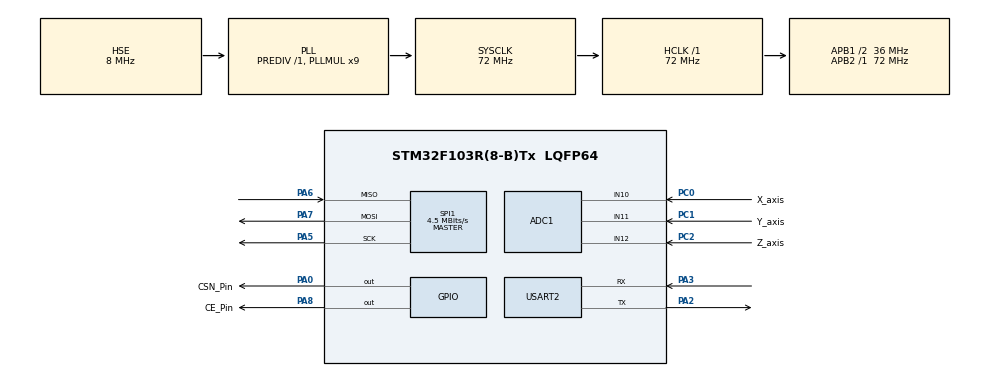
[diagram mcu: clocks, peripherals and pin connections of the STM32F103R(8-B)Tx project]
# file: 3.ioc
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ADC1.Channel-0\#ChannelRegularConversion=ADC_CHANNEL_10
ADC1.Channel-5\#ChannelRegularConversion=ADC_CHANNEL_11
ADC1.Channel-6\#ChannelRegularConversion=ADC_CHANNEL_12
ADC1.ContinuousConvMode=ENABLE
ADC1.DiscontinuousConvMode=DISABLE
ADC1.NbrOfConversion=3
ADC1.NbrOfConversionFlag=1
ADC1.Rank-0\#ChannelRegularConversion=1
ADC1.Rank-5\#ChannelRegularConversion=2
ADC1.Rank-6\#ChannelRegularConversion=3
ADC1.SamplingTime-0\#ChannelRegularConversion=ADC_SAMPLETIME_239CYCLES_5
ADC1.SamplingTime-5\#ChannelRegularConversion=ADC_SAMPLETIME_239CYCLES_5
ADC1.SamplingTime-6\#ChannelRegularConversion=ADC_SAMPLETIME_239CYCLES_5
ADC1.master=1
Dma.ADC1.0.Direction=DMA_PERIPH_TO_MEMORY
Dma.ADC1.0.Instance=DMA1_Channel1
Dma.ADC1.0.MemDataAlignment=DMA_MDATAALIGN_HALFWORD
Dma.ADC1.0.MemInc=DMA_MINC_ENABLE
Dma.ADC1.0.Mode=DMA_CIRCULAR
Dma.ADC1.0.PeriphDataAlignment=DMA_PDATAALIGN_HALFWORD
Dma.ADC1.0.PeriphInc=DMA_PINC_DISABLE
Dma.ADC1.0.Priority=DMA_PRIORITY_LOW
Dma.Request0=ADC1
Mcu.Family=STM32F1
Mcu.Name=STM32F103R(8-B)Tx
Mcu.Package=LQFP64
NVIC.ADC1_2_IRQn=true\:0\:0\:false\:false\:true\:true\:true\:true
NVIC.DMA1_Channel1_IRQn=true\:0\:0\:false\:false\:true\:false\:true\:true
NVIC.PriorityGroup=NVIC_PRIORITYGROUP_4
PA0-WKUP.GPIO_Label=CSN_Pin
PA0-WKUP.Signal=GPIO_Output
PA2.Mode=Asynchronous
PA2.Signal=USART2_TX
PA3.Mode=Asynchronous
PA3.Signal=USART2_RX
PA5.Mode=Full_Duplex_Master
PA5.Signal=SPI1_SCK
PA6.Mode=Full_Duplex_Master
PA6.Signal=SPI1_MISO
PA7.Mode=Full_Duplex_Master
PA7.Signal=SPI1_MOSI
PA8.GPIO_Label=CE_Pin
PA8.Signal=GPIO_Output
PC0.GPIO_Label=X_axis
PC0.Signal=ADCx_IN10
PC1.GPIO_Label=Y_axis
PC1.Signal=ADCx_IN11
PC14-OSC32_IN.Mode=LSE-External-Oscillator
PC14-OSC32_IN.Signal=RCC_OSC32_IN
PC15-OSC32_OUT.Mode=LSE-External-Oscillator
PC15-OSC32_OUT.Signal=RCC_OSC32_OUT
PC2.GPIO_Label=Z_axis
PC2.Signal=ADCx_IN12
PD0-OSC_IN.Mode=HSE-External-Clock-Source
PD0-OSC_IN.Signal=RCC_OSC_IN
PD1-OSC_OUT.Mode=HSE-External-Clock-Source
PD1-OSC_OUT.Signal=RCC_OSC_OUT
ProjectManager.HeapSize=0x200
ProjectManager.StackSize=0x400
ProjectManager.TargetToolchain=STM32CubeIDE
RCC.ADCPresc=RCC_ADCPCLK2_DIV6
RCC.AHBFreq_Value=72000000
RCC.APB1CLKDivider=RCC_HCLK_DIV2
RCC.APB1Freq_Value=36000000
RCC.APB1TimFreq_Value=72000000
RCC.APB2Freq_Value=72000000
RCC.APB2TimFreq_Value=72000000
RCC.HCLKFreq_Value=72000000
RCC.PLLMUL=RCC_PLL_MUL9
RCC.PLLSourceVirtual=RCC_PLLSOURCE_HSE
RCC.RTCClockSelection=RCC_RTCCLKSOURCE_LSE
RCC.SYSCLKFreq_VALUE=72000000
RCC.SYSCLKSource=RCC_SYSCLKSOURCE_PLLCLK
RCC.USBFreq_Value=72000000
SH.ADCx_IN10.0=ADC1_IN10,IN10
SH.ADCx_IN11.0=ADC1_IN11,IN11
SH.ADCx_IN12.0=ADC1_IN12,IN12
SPI1.BaudRatePrescaler=SPI_BAUDRATEPRESCALER_16
SPI1.CalculateBaudRate=4.5 MBits/s
SPI1.Direction=SPI_DIRECTION_2LINES
SPI1.Mode=SPI_MODE_MASTER
SPI1.VirtualType=VM_MASTER
USART2.VirtualMode=VM_ASYNC
VP_SYS_VS_ND.Mode=No_Debug
board=NUCLEO-F103RB

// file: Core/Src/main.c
/* USER CODE BEGIN Header */
/**
  ******************************************************************************
  * @file           : main.c
  * @brief          : Main program body
  ******************************************************************************
  * @attention
  *
  * Copyright (c) 2025 STMicroelectronics.
  * All rights reserved.
  *
  * This software is licensed under terms that can be found in the LICENSE file
  * in the root directory of this software component.
  * If no LICENSE file comes with this software, it is provided AS-IS.
  *
  ******************************************************************************
  */
/* USER CODE END Header */
#include "main.h"
#include "adc.h"
#include "spi.h"
#include "usart.h"
#include "gpio.h"

/* USER CODE BEGIN Includes */
#include "NRF24.h"
#include "NRF24_conf.h"
#include "stdio.h"
#include "string.h"
#include "NRF24_reg_addresses.h"

/* USER CODE END Includes */

void SystemClock_Config(void);

/* USER CODE BEGIN 0 */
uint8_t tx_address[5] = {0xE7, 0xE7, 0xE7, 0xE7, 0xE7};

extern ADC_HandleTypeDef hadc1;
extern SPI_HandleTypeDef hspi1;
extern UART_HandleTypeDef huart2;

void nrf24_transmitter_setup(void)
{
    nrf24_defaults();                //레지스터 기본값으로 초기화
    nrf24_pwr_up();
    nrf24_flush_tx();
    nrf24_flush_rx();
    nrf24_clear_rx_dr();
    nrf24_clear_tx_ds();
    nrf24_clear_max_rt();
    nrf24_stop_listen();             //수신모드 비활성화 하여 송신 전용 모드로 전환

    nrf24_set_channel(40);           //무선 채널 40번으로 설정
    nrf24_auto_ack_all(disable);     //자동 ack기능 off=>단순 송신만 수행
    nrf24_set_payload_size(6);      //한번에 전송할 페이로드 크기 최대 32바이트
    nrf24_tx_pwr(3);
    nrf24_data_rate(_1mbps);
    nrf24_open_tx_pipe(tx_address);  //파이프 0에 tx_address를 열어 송신 대상 지정
    nrf24_pwr_up();                  //모듈 power up=>송신 준비 완료

   // nrf24_dpl(enable);               //dpl활성화
     // nrf24_set_rx_dpl(0, enable);
}

void debug_dump_settings(void) {     //주소 확인 용
    uint8_t ch     = nrf24_r_reg(RF_CH, 1);
    uint8_t pw     = nrf24_r_reg(RX_PW_P0, 1);
    uint8_t addr[5];

    csn_low();
    uint8_t cmd = R_REGISTER | RX_ADDR_P0;
    HAL_SPI_Transmit(&hspi1, &cmd, 1, 100);
    HAL_SPI_Receive(&hspi1, addr, 5, 100);
    csn_high();

    printf("=== DEBUG SETTINGS ===\r\n");
    printf(" RF_CH       = %u\r\n", ch);
    printf(" RX_PW_P0    = %u bytes\r\n", pw);
    printf(" RX_ADDR_P0  = %02X %02X %02X %02X %02X\r\n",
           addr[0], addr[1], addr[2], addr[3], addr[4]);
    printf("======================\r\n");
}

int __io_putchar(int ch)
{
    HAL_UART_Transmit(&huart2, (uint8_t*)&ch, 1, HAL_MAX_DELAY);
    return ch;
}

void transmit_text(const char* msg) {
    nrf24_transmit((uint8_t*)msg, strlen(msg));
}

static uint32_t ReadADC_Channel(uint32_t channel) {

	   ADC_ChannelConfTypeDef sConfig = {0};              //채널 구성 구조체 초기화
	    sConfig.Channel      = channel;                    //변환할 채널 지정
	    sConfig.Rank         = ADC_REGULAR_RANK_1;
	    sConfig.SamplingTime = ADC_SAMPLETIME_239CYCLES_5; //샘플링 타임 설정
	    HAL_ADC_ConfigChannel(&hadc1, &sConfig);

	    HAL_ADC_Start(&hadc1);                             //변환 시작
	    HAL_ADC_PollForConversion(&hadc1, HAL_MAX_DELAY);  //변환 완료 대기
	    uint32_t value = HAL_ADC_GetValue(&hadc1);         //변환 결과 읽기
	    HAL_ADC_Stop(&hadc1);
	    return value;

    return value;
}

/* USER CODE END 0 */

int main(void)
{

  /* MCU Configuration--------------------------------------------------------*/

  /* Reset of all peripherals, Initializes the Flash interface and the Systick. */
  HAL_Init();

  /* Configure the system clock */
  SystemClock_Config();

  /* Initialize all configured peripherals */
  MX_GPIO_Init();
  MX_SPI1_Init();
  MX_USART2_UART_Init();
  MX_ADC1_Init();
  /* USER CODE BEGIN 2 */

  nrf24_init();

 // char buf[64];
  nrf24_transmitter_setup();
 // debug_dump_settings();
 //nrf24_dpl(enable);                  // ← 여기에 추가
 //nrf24_set_rx_dpl(0, enable);

  /* USER CODE END 2 */

  /* Infinite loop */
  while (1)
  {

    /* USER CODE BEGIN 3 */

	  // 1) X/Y/Z 읽기
	     uint16_t x = ReadADC_Channel(ADC_CHANNEL_10);   // 0~4095
	     uint16_t y = ReadADC_Channel(ADC_CHANNEL_11);
	     uint16_t z = ReadADC_Channel(ADC_CHANNEL_12);

	     // 2) 6바이트 이진 패킹
	     uint8_t payload[6];
	     payload[0] = (uint8_t)( x        & 0xFF);      // X LSB
	     payload[1] = (uint8_t)((x >> 8) & 0x0F);       // X MSB (12bit)
	     payload[2] = (uint8_t)( y        & 0xFF);      // Y LSB
	     payload[3] = (uint8_t)((y >> 8) & 0x0F);       // Y MSB
	     payload[4] = (uint8_t)( z        & 0xFF);      // Z LSB
	     payload[5] = (uint8_t)((z >> 8) & 0x0F);       // Z MSB

	     // 3) 무선 전송 (6바이트)
	     nrf24_transmit(payload, 6);

	     // 4) UART 디버그: ASCII 숫자만 보기
	     char dbg[64];
	     int dlen = snprintf(dbg, sizeof(dbg),
	                        "X:%u  Y:%u  Z:%u\r\n",
	                        x, y, z);
	     HAL_UART_Transmit(&huart2, (uint8_t*)dbg, dlen, HAL_MAX_DELAY);

	     // 5) 전송 속도 제어
	     HAL_Delay(10);
  }
  /* USER CODE END 3 */
}

void SystemClock_Config(void)
{
  RCC_OscInitTypeDef RCC_OscInitStruct = {0};
  RCC_ClkInitTypeDef RCC_ClkInitStruct = {0};
  RCC_PeriphCLKInitTypeDef PeriphClkInit = {0};

  /** Initializes the RCC Oscillators according to the specified parameters
  * in the RCC_OscInitTypeDef structure.
  */
  RCC_OscInitStruct.OscillatorType = RCC_OSCILLATORTYPE_HSE;
  RCC_OscInitStruct.HSEState = RCC_HSE_BYPASS;
  RCC_OscInitStruct.HSEPredivValue = RCC_HSE_PREDIV_DIV1;
  RCC_OscInitStruct.HSIState = RCC_HSI_ON;
  RCC_OscInitStruct.PLL.PLLState = RCC_PLL_ON;
  RCC_OscInitStruct.PLL.PLLSource = RCC_PLLSOURCE_HSE;
  RCC_OscInitStruct.PLL.PLLMUL = RCC_PLL_MUL9;
  if (HAL_RCC_OscConfig(&RCC_OscInitStruct) != HAL_OK)
  {
    Error_Handler();
  }

  /** Initializes the CPU, AHB and APB buses clocks
  */
  RCC_ClkInitStruct.ClockType = RCC_CLOCKTYPE_HCLK|RCC_CLOCKTYPE_SYSCLK
                              |RCC_CLOCKTYPE_PCLK1|RCC_CLOCKTYPE_PCLK2;
  RCC_ClkInitStruct.SYSCLKSource = RCC_SYSCLKSOURCE_PLLCLK;
  RCC_ClkInitStruct.AHBCLKDivider = RCC_SYSCLK_DIV1;
  RCC_ClkInitStruct.APB1CLKDivider = RCC_HCLK_DIV2;
  RCC_ClkInitStruct.APB2CLKDivider = RCC_HCLK_DIV1;

  if (HAL_RCC_ClockConfig(&RCC_ClkInitStruct, FLASH_LATENCY_2) != HAL_OK)
  {
    Error_Handler();
  }
  PeriphClkInit.PeriphClockSelection = RCC_PERIPHCLK_ADC;
  PeriphClkInit.AdcClockSelection = RCC_ADCPCLK2_DIV6;
  if (HAL_RCCEx_PeriphCLKConfig(&PeriphClkInit) != HAL_OK)
  {
    Error_Handler();
  }
}

void Error_Handler(void)
{
  __disable_irq();
  while (1)
  {
  }
}
